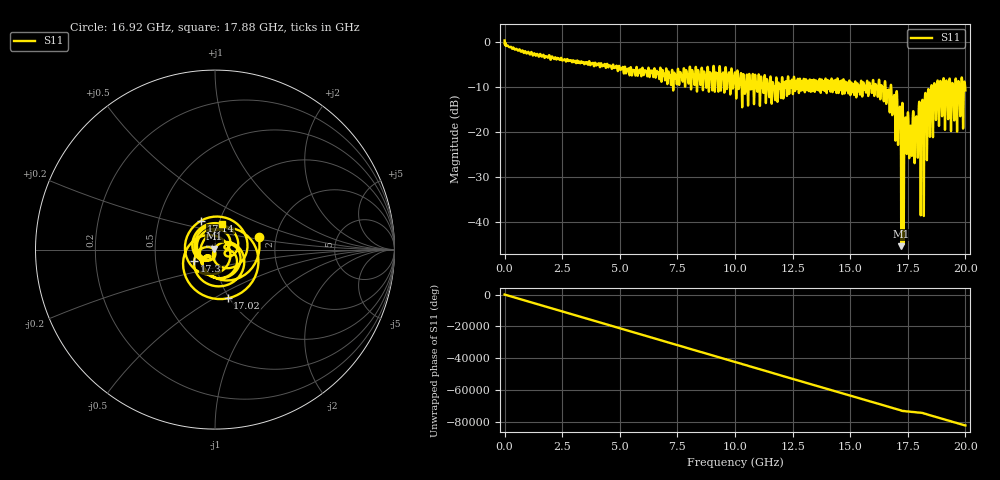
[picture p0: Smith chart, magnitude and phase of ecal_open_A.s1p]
! MS46122B
! 2250307/22442219
! 6/11/2025 1:18:00 PM
! C:\USERS\SPARKY\DOCUMENTS\VNA_DATA\JUNE11_2025\ECAL-OPEN.S1P
! CHANNEL.1
! TR.MEASUREMENT
! RAW.DATA
# GHZ S RI R 50.0
! FREQ.GHZ  S11RE  S11IM
!; PortSelection: Port_1
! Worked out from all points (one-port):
!   10001 points, 1 MHz to 20 GHz, reference 50 ohm
!   lowest |S11| = -45.5 dB at 17.21 GHz (marker M1), VSWR 1.01, Z = 49.7 + j0.451 ohm
!   |S11| at or under -10 dB: 16.38 GHz to 16.49 GHz (114 MHz wide, 0.694 % of centre); 16.53 GHz to 16.76 GHz (223.2 MHz wide, 1.34 % of centre); 16.78 GHz to 18.52 GHz (1.738 GHz wide, 9.84 % of centre) (the widest 3 of 96)
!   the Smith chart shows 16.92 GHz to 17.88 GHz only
!   S11 on the Smith chart (normalised r, x): 16.92 GHz: 1.62, +0.24; 17.02 GHz: 0.98, -0.58; 17.14 GHz: 0.82, +0.27; 17.3 GHz: 0.79, -0.10; 17.88 GHz: 1.04, +0.30
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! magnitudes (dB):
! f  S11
! 1 MHz  0.3
! 2.501 GHz  -4.2
! 5.001 GHz  -5.9
! 7.501 GHz  -7.3
! 10 GHz  -6.8
! 12.5 GHz  -10.7
! 15 GHz  -11.6
! 16.44 GHz  -11.6
! 16.92 GHz  -12.0
! 17.02 GHz  -11.0
! 17.09 GHz  -19.1
! 17.14 GHz  -14.9
! 17.21 GHz  -45.5
! 17.3 GHz  -17.5
! 17.5 GHz  -15.8
! 17.88 GHz  -16.7
! 18.07 GHz  -33.4
! 18.13 GHz  -13.0
! 18.19 GHz  -34.7
! 18.26 GHz  -11.4
! 18.33 GHz  -25.9
! 18.4 GHz  -10.6
! 18.46 GHz  -21.0
! 18.52 GHz  -9.8
! 18.72 GHz  -17.4
! 19.25 GHz  -17.1
! 19.45 GHz  -9.3
! 20 GHz  -10.9
